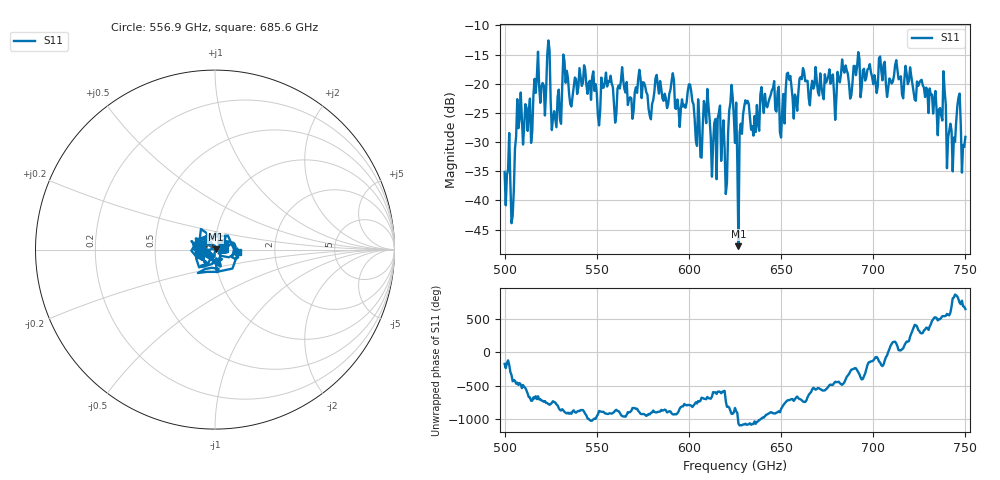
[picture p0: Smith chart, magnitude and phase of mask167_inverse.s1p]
!Created with skrf (http://scikit-rf.org).
# GHz S MA R 50.0
!freq magS11 angS11
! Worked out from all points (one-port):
!   401 points, 500 GHz to 750 GHz, reference 50 ohm
!   lowest |S11| = -47.8 dB at 626.9 GHz (marker M1), VSWR 1.01, Z = 50.4 + j0.0719 ohm
!   |S11| at or under -10 dB: start of sweep to end of sweep
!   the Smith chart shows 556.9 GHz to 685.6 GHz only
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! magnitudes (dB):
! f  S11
! 500 GHz  -35.1
! 504.4 GHz  -42.6
! 507.5 GHz  -27.6
! 513.8 GHz  -22.5
! 517.5 GHz  -18.8
! 523.8 GHz  -12.6
! 526.9 GHz  -24.7
! 531.2 GHz  -20.6
! 562.5 GHz  -20.8
! 579.4 GHz  -26.1
! 590.6 GHz  -19.5
! 593.8 GHz  -22.7
! 600.6 GHz  -20.1
! 605.6 GHz  -26.0
! 609.4 GHz  -26.8
! 619.4 GHz  -31.1
! 622.5 GHz  -23.3
! 625 GHz  -30.1
! 626.9 GHz  -47.8
! 631.2 GHz  -23.4
! 635 GHz  -28.9
! 656.2 GHz  -22.5
! 687.5 GHz  -22.5
! 718.8 GHz  -20.1
! 738.1 GHz  -17.8
! 743.1 GHz  -35.0
! 746.2 GHz  -22.3
! 750 GHz  -29.1
